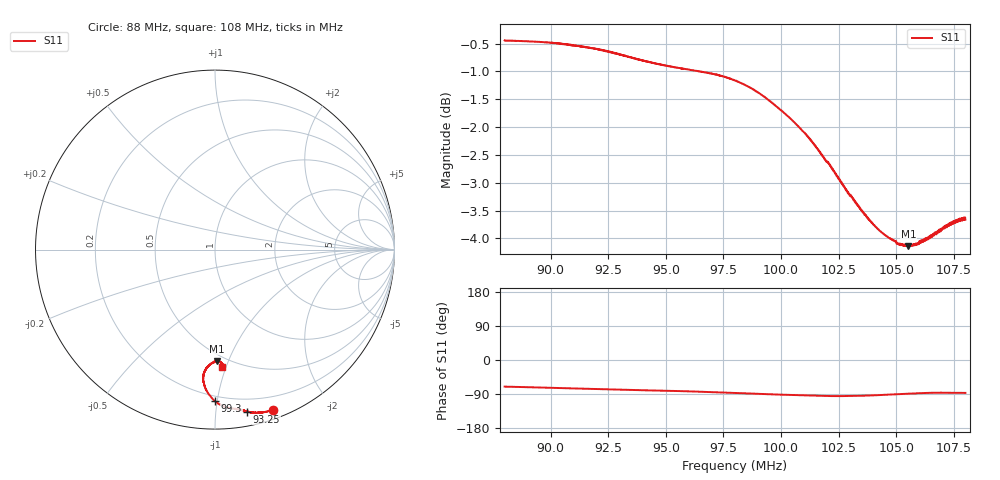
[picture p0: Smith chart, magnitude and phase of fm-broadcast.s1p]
! Calibrated averaged scanner-service zoom
# Hz S RI R 50
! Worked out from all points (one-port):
!   2001 points, 88 MHz to 108 MHz, reference 50 ohm
!   lowest |S11| = -4.1 dB at 105.5 MHz (marker M1), VSWR 4.28, Z = 22.6 - j45.6 ohm
!   |S11| at or under -10 dB: nowhere
!   S11 on the Smith chart (normalised r, x): 88 MHz: 0.08, -1.42; 93.25 MHz: 0.10, -1.21; 99.3 MHz: 0.17, -0.99; 108 MHz: 0.42, -0.97
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8.8e7  0.3207 -0.8943
8.913e7  0.2939 -0.9016
9.05e7  0.2563 -0.9072
9.191e7  0.2177 -0.9087
9.3e7  0.1866 -0.9031
9.325e7  0.1797 -0.9027
9.55e7  0.1259 -0.8893
9.678e7  0.0914 -0.8843
9.747e7  0.0676 -0.8796
9.8e7  0.0483 -0.8733
9.862e7  0.025 -0.8625
9.93e7  0.000201 -0.845
9.983e7  -0.0169 -0.8279
1.005e8  -0.0356 -0.8041
1.0131e8  -0.0546 -0.7702
1.0211e8  -0.0656 -0.7316
1.0252e8  -0.0666 -0.7106
1.03e8  -0.0616 -0.6869
1.0359e8  -0.0494 -0.6634
1.0426e8  -0.0279 -0.6409
1.0511e8  -0.00226 -0.6231
1.055e8  0.0114 -0.6218
1.0553e8  0.0116 -0.6208
1.0587e8  0.0225 -0.6222
1.062e8  0.032 -0.6293
1.0677e8  0.0414 -0.6387
1.0746e8  0.0403 -0.6524
1.08e8  0.0367 -0.655
